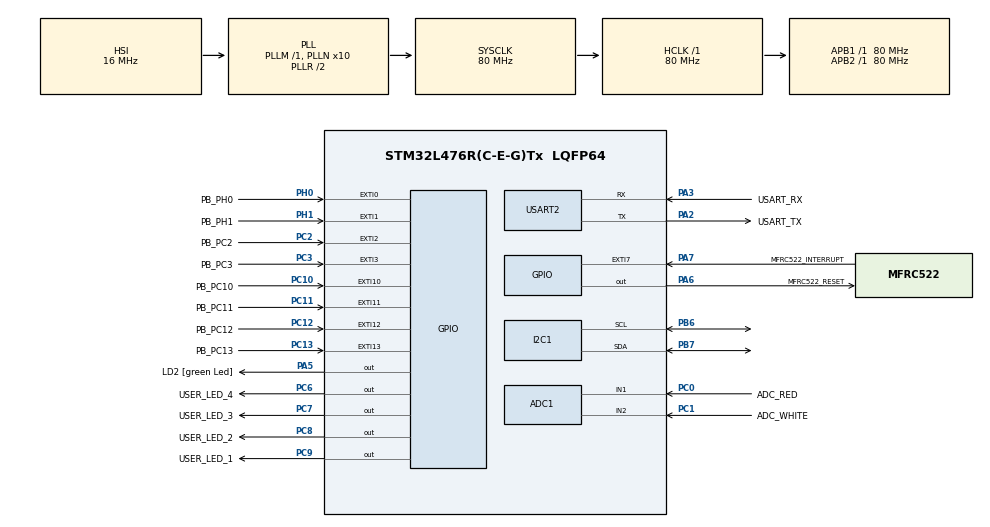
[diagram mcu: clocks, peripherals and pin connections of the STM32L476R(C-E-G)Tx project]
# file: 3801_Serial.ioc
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ADC1.Channel-1\#ChannelRegularConversion=ADC_CHANNEL_1
ADC1.Channel-2\#ChannelRegularConversion=ADC_CHANNEL_2
ADC1.ContinuousConvMode=ENABLE
ADC1.DMAContinuousRequests=DISABLE
ADC1.EOCSelection=ADC_EOC_SEQ_CONV
ADC1.NbrOfConversion=2
ADC1.NbrOfConversionFlag=1
ADC1.OffsetNumber-1\#ChannelRegularConversion=ADC_OFFSET_NONE
ADC1.OffsetNumber-2\#ChannelRegularConversion=ADC_OFFSET_NONE
ADC1.OversamplingMode=DISABLE
ADC1.Rank-1\#ChannelRegularConversion=1
ADC1.Rank-2\#ChannelRegularConversion=2
ADC1.SamplingTime-1\#ChannelRegularConversion=ADC_SAMPLETIME_6CYCLES_5
ADC1.SamplingTime-2\#ChannelRegularConversion=ADC_SAMPLETIME_6CYCLES_5
ADC1.master=1
Dma.ADC1.0.Direction=DMA_PERIPH_TO_MEMORY
Dma.ADC1.0.Instance=DMA1_Channel1
Dma.ADC1.0.MemDataAlignment=DMA_MDATAALIGN_WORD
Dma.ADC1.0.MemInc=DMA_MINC_ENABLE
Dma.ADC1.0.Mode=DMA_CIRCULAR
Dma.ADC1.0.PeriphDataAlignment=DMA_PDATAALIGN_WORD
Dma.ADC1.0.PeriphInc=DMA_PINC_DISABLE
Dma.ADC1.0.Priority=DMA_PRIORITY_VERY_HIGH
Dma.Request0=ADC1
FREERTOS.Tasks01=defaultTask,24,128,StartDefaultTask,Default,NULL,Dynamic,NULL,NULL
FREERTOS.configMINIMAL_STACK_SIZE=128
FREERTOS.configTOTAL_HEAP_SIZE=3000
FREERTOS.configUSE_NEWLIB_REENTRANT=1
I2C1.Timing=0x10909CEC
Mcu.Family=STM32L4
Mcu.Name=STM32L476R(C-E-G)Tx
Mcu.Package=LQFP64
NVIC.DMA1_Channel1_IRQn=true\:5\:0\:false\:false\:true\:false\:false\:true\:true
NVIC.EXTI0_IRQn=true\:6\:0\:true\:false\:true\:true\:true\:true\:true
NVIC.EXTI15_10_IRQn=true\:6\:0\:true\:false\:true\:true\:true\:true\:true
NVIC.EXTI1_IRQn=true\:6\:0\:true\:false\:true\:true\:true\:true\:true
NVIC.EXTI2_IRQn=true\:6\:0\:true\:false\:true\:true\:true\:true\:true
NVIC.EXTI3_IRQn=true\:6\:0\:true\:false\:true\:true\:true\:true\:true
NVIC.EXTI9_5_IRQn=true\:6\:0\:true\:false\:true\:true\:true\:true\:true
NVIC.PriorityGroup=NVIC_PRIORITYGROUP_4
NVIC.TIM1_UP_TIM16_IRQn=true\:15\:0\:false\:false\:true\:false\:false\:true\:true
NVIC.TimeBase=TIM1_UP_TIM16_IRQn
NVIC.TimeBaseIP=TIM1
PA13\ (JTMS-SWDIO).GPIO_Label=TMS
PA13\ (JTMS-SWDIO).Mode=Serial_Wire
PA13\ (JTMS-SWDIO).Signal=SYS_JTMS-SWDIO
PA14\ (JTCK-SWCLK).GPIO_Label=TCK
PA14\ (JTCK-SWCLK).Mode=Serial_Wire
PA14\ (JTCK-SWCLK).Signal=SYS_JTCK-SWCLK
PA2.GPIO_Label=USART_TX
PA2.GPIO_Mode=GPIO_MODE_AF_PP
PA2.GPIO_PuPd=GPIO_NOPULL
PA2.GPIO_Speed=GPIO_SPEED_FREQ_VERY_HIGH
PA2.Mode=Asynchronous
PA2.Signal=USART2_TX
PA3.GPIO_Label=USART_RX
PA3.GPIO_Mode=GPIO_MODE_AF_PP
PA3.GPIO_PuPd=GPIO_NOPULL
PA3.GPIO_Speed=GPIO_SPEED_FREQ_VERY_HIGH
PA3.Mode=Asynchronous
PA3.Signal=USART2_RX
PA5.GPIO_Label=LD2 [green Led]
PA5.GPIO_ModeDefaultOutputPP=GPIO_MODE_OUTPUT_PP
PA5.GPIO_PuPd=GPIO_NOPULL
PA5.GPIO_Speed=GPIO_SPEED_FREQ_LOW
PA5.Signal=GPIO_Output
PA6.GPIO_Label=MFRC522_RESET
PA6.PinState=GPIO_PIN_SET
PA6.Signal=GPIO_Output
PA7.GPIO_Label=MFRC522_INTERRUPT
PA7.Signal=GPXTI7
PB3\ (JTDO-TRACESWO).GPIO_Label=SWO
PB3\ (JTDO-TRACESWO).Signal=SYS_JTDO-SWO
PB6.Mode=I2C
PB6.Signal=I2C1_SCL
PB7.Mode=I2C
PB7.Signal=I2C1_SDA
PC0.GPIO_Label=ADC_RED
PC0.Signal=ADCx_IN1
PC1.GPIO_Label=ADC_WHITE
PC1.Signal=ADCx_IN2
PC10.GPIO_Label=PB_PC10
PC10.GPIO_ModeDefaultEXTI=GPIO_MODE_IT_FALLING
PC10.GPIO_PuPd=GPIO_PULLUP
PC10.Signal=GPXTI10
PC11.GPIO_Label=PB_PC11
PC11.GPIO_ModeDefaultEXTI=GPIO_MODE_IT_FALLING
PC11.GPIO_PuPd=GPIO_PULLUP
PC11.Signal=GPXTI11
PC12.GPIO_Label=PB_PC12
PC12.GPIO_ModeDefaultEXTI=GPIO_MODE_IT_FALLING
PC12.GPIO_PuPd=GPIO_PULLUP
PC12.Signal=GPXTI12
PC13.GPIO_Label=PB_PC13
PC13.GPIO_ModeDefaultEXTI=GPIO_MODE_IT_FALLING
PC13.GPIO_PuPd=GPIO_PULLUP
PC13.Signal=GPXTI13
PC2.GPIO_Label=PB_PC2
PC2.GPIO_ModeDefaultEXTI=GPIO_MODE_IT_FALLING
PC2.GPIO_PuPd=GPIO_PULLUP
PC2.Signal=GPXTI2
PC3.GPIO_Label=PB_PC3
PC3.GPIO_ModeDefaultEXTI=GPIO_MODE_IT_FALLING
PC3.GPIO_PuPd=GPIO_PULLUP
PC3.Signal=GPXTI3
PC6.GPIO_Label=USER_LED_4
PC6.GPIO_PuPd=GPIO_PULLDOWN
PC6.GPIO_Speed=GPIO_SPEED_FREQ_MEDIUM
PC6.Signal=GPIO_Output
PC7.GPIO_Label=USER_LED_3
PC7.GPIO_PuPd=GPIO_PULLDOWN
PC7.GPIO_Speed=GPIO_SPEED_FREQ_MEDIUM
PC7.Signal=GPIO_Output
PC8.GPIO_Label=USER_LED_2
PC8.GPIO_PuPd=GPIO_PULLDOWN
PC8.GPIO_Speed=GPIO_SPEED_FREQ_MEDIUM
PC8.Signal=GPIO_Output
PC9.GPIO_Label=USER_LED_1
PC9.GPIO_PuPd=GPIO_PULLDOWN
PC9.GPIO_Speed=GPIO_SPEED_FREQ_MEDIUM
PC9.Signal=GPIO_Output
PH0-OSC_IN\ (PH0).GPIO_Label=PB_PH0
PH0-OSC_IN\ (PH0).GPIO_ModeDefaultEXTI=GPIO_MODE_IT_FALLING
PH0-OSC_IN\ (PH0).GPIO_PuPd=GPIO_PULLUP
PH0-OSC_IN\ (PH0).Signal=GPXTI0
PH1-OSC_OUT\ (PH1).GPIO_Label=PB_PH1
PH1-OSC_OUT\ (PH1).GPIO_ModeDefaultEXTI=GPIO_MODE_IT_FALLING
PH1-OSC_OUT\ (PH1).GPIO_PuPd=GPIO_PULLUP
PH1-OSC_OUT\ (PH1).Signal=GPXTI1
ProjectManager.HeapSize=0x200
ProjectManager.StackSize=0x400
ProjectManager.TargetToolchain=STM32CubeIDE
RCC.ADCCLockSelection=RCC_ADCCLKSOURCE_SYSCLK
RCC.ADCFreq_Value=80000000
RCC.AHBFreq_Value=80000000
RCC.APB1Freq_Value=80000000
RCC.APB1TimFreq_Value=80000000
RCC.APB2Freq_Value=80000000
RCC.APB2TimFreq_Value=80000000
RCC.CortexFreq_Value=80000000
RCC.HCLKFreq_Value=80000000
RCC.HSE_VALUE=8000000
RCC.HSI_VALUE=16000000
RCC.LSE_VALUE=32768
RCC.MSI_VALUE=4000000
RCC.PLLN=10
RCC.PLLSourceVirtual=RCC_PLLSOURCE_HSI
RCC.PREFETCH_ENABLE=1
RCC.SYSCLKFreq_VALUE=80000000
RCC.SYSCLKSource=RCC_SYSCLKSOURCE_PLLCLK
RCC.USBFreq_Value=64000000
RCC.VCOOutputFreq_Value=160000000
SH.ADCx_IN1.0=ADC1_IN1,IN1-Single-Ended
SH.ADCx_IN2.0=ADC1_IN2,IN2-Single-Ended
USART2.VirtualMode-Asynchronous=VM_ASYNC
VP_FREERTOS_VS_CMSIS_V2.Mode=CMSIS_V2
VP_SYS_VS_tim1.Mode=TIM1
board=NUCLEO-L476RG

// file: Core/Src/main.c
/* USER CODE BEGIN Header */
/**
  ******************************************************************************
  * @file           : main.c
  * @brief          : Main program body
  ******************************************************************************
  * @attention
  *
  * <h2><center>&copy; Copyright (c) 2023 STMicroelectronics.
  * All rights reserved.</center></h2>
  *
  * This software component is licensed by ST under BSD 3-Clause license,
  * the "License"; You may not use this file except in compliance with the
  * License. You may obtain a copy of the License at:
  *                        opensource.org/licenses/BSD-3-Clause
  *
  ******************************************************************************
  */
/* USER CODE END Header */
#include "main.h"
#include "cmsis_os.h"

/* USER CODE BEGIN Includes */
#include "gpio_manager.h"
#include "event_manager.h"
#include "serial_manager.h"
#include "mfrc522.h"
#include <string.h>
/* USER CODE END Includes */

ADC_HandleTypeDef hadc1;
DMA_HandleTypeDef hdma_adc1;

I2C_HandleTypeDef hi2c1;

UART_HandleTypeDef huart2;

/* Definitions for defaultTask */
osThreadId_t defaultTaskHandle;
const osThreadAttr_t defaultTask_attributes = {
  .name = "defaultTask",
  .stack_size = 128 * 4,
  .priority = (osPriority_t) osPriorityNormal,
};
/* USER CODE BEGIN PV */
osThreadId_t eventManagerHandle;
const osThreadAttr_t eventManager_attributes = {
  .name = "eventManager",
  .priority = (osPriority_t) osPriorityNormal,
  .stack_size = 128 * 4
};

osThreadId_t serialManagerHandle;
const osThreadAttr_t serialManager_attributes = {
  .name = "serialManager",
  .priority = (osPriority_t) osPriorityNormal,
  .stack_size = 128 * 4
};

osThreadId_t gpioManagerHandle;
const osThreadAttr_t gpioManager_attributes = {
  .name = "gpioManager",
  .priority = (osPriority_t) osPriorityNormal,
  .stack_size = 128 * 4
};

osThreadId_t NFCManagerHandle;
const osThreadAttr_t NFCManager_attributes = {
  .name = "NFCManager",
  .priority = (osPriority_t) osPriorityNormal,
  .stack_size = 128 * 4
};
/* USER CODE END PV */

void SystemClock_Config(void);
static void MX_GPIO_Init(void);
static void MX_DMA_Init(void);
static void MX_USART2_UART_Init(void);
static void MX_I2C1_Init(void);
static void MX_ADC1_Init(void);
void StartDefaultTask(void *argument);

/* USER CODE BEGIN PFP */
void badCustomInit(void);
/* USER CODE END PFP */

int main(void)
{
  /* USER CODE BEGIN 1 */
  int ret = 0;
  //uint8_t buf[64]; // lachie code kept for merge
  /* USER CODE END 1 */

  /* MCU Configuration--------------------------------------------------------*/

  /* Reset of all peripherals, Initializes the Flash interface and the Systick. */
  HAL_Init();

  /* Configure the system clock */
  SystemClock_Config();

  /* Initialize all configured peripherals */
  MX_GPIO_Init();
  MX_DMA_Init();
  MX_USART2_UART_Init();
  MX_I2C1_Init();
  MX_ADC1_Init();
  /* USER CODE BEGIN 2 */
  MFRC522_Init();

  // Lachie code kept for merge sake
  //TM_MFRC522_version_dump();
  //TM_MFRC522_SelfTest(buf);

  ret |= eventManagerInit();
  ret |= serialManagerInit();
  ret |= gpioManagerInit();
//
//  if (ret)
//	  badCustomInit();
  /* USER CODE END 2 */

  /* Init scheduler */
  osKernelInitialize();

  /* Create the thread(s) */
  /* creation of defaultTask */
  //defaultTaskHandle = osThreadNew(StartDefaultTask, NULL, &defaultTask_attributes);

  /* USER CODE BEGIN RTOS_THREADS */
//  /* add threads, ... */
  eventManagerHandle = osThreadNew(eventManagerTask, NULL, &eventManager_attributes);
  serialManagerHandle = osThreadNew(serialManagerTask, NULL, &serialManager_attributes);
  gpioManagerHandle = osThreadNew(gpioManagerTask, NULL, &gpioManager_attributes);
  NFCManagerHandle = osThreadNew(NFCTask, NULL, &NFCManager_attributes);
  /* USER CODE END RTOS_THREADS */

  /* Start scheduler */
  osKernelStart();

  /* We should never get here as control is now taken by the scheduler */
  /* Infinite loop */
  while (1)
  {

  }
}

void SystemClock_Config(void)
{
  RCC_OscInitTypeDef RCC_OscInitStruct = {0};
  RCC_ClkInitTypeDef RCC_ClkInitStruct = {0};

  /** Configure the main internal regulator output voltage
  */
  if (HAL_PWREx_ControlVoltageScaling(PWR_REGULATOR_VOLTAGE_SCALE1) != HAL_OK)
  {
    Error_Handler();
  }

  /** Initializes the RCC Oscillators according to the specified parameters
  * in the RCC_OscInitTypeDef structure.
  */
  RCC_OscInitStruct.OscillatorType = RCC_OSCILLATORTYPE_HSI;
  RCC_OscInitStruct.HSIState = RCC_HSI_ON;
  RCC_OscInitStruct.HSICalibrationValue = RCC_HSICALIBRATION_DEFAULT;
  RCC_OscInitStruct.PLL.PLLState = RCC_PLL_ON;
  RCC_OscInitStruct.PLL.PLLSource = RCC_PLLSOURCE_HSI;
  RCC_OscInitStruct.PLL.PLLM = 1;
  RCC_OscInitStruct.PLL.PLLN = 10;
  RCC_OscInitStruct.PLL.PLLP = RCC_PLLP_DIV7;
  RCC_OscInitStruct.PLL.PLLQ = RCC_PLLQ_DIV2;
  RCC_OscInitStruct.PLL.PLLR = RCC_PLLR_DIV2;
  if (HAL_RCC_OscConfig(&RCC_OscInitStruct) != HAL_OK)
  {
    Error_Handler();
  }

  /** Initializes the CPU, AHB and APB buses clocks
  */
  RCC_ClkInitStruct.ClockType = RCC_CLOCKTYPE_HCLK|RCC_CLOCKTYPE_SYSCLK
                              |RCC_CLOCKTYPE_PCLK1|RCC_CLOCKTYPE_PCLK2;
  RCC_ClkInitStruct.SYSCLKSource = RCC_SYSCLKSOURCE_PLLCLK;
  RCC_ClkInitStruct.AHBCLKDivider = RCC_SYSCLK_DIV1;
  RCC_ClkInitStruct.APB1CLKDivider = RCC_HCLK_DIV1;
  RCC_ClkInitStruct.APB2CLKDivider = RCC_HCLK_DIV1;

  if (HAL_RCC_ClockConfig(&RCC_ClkInitStruct, FLASH_LATENCY_4) != HAL_OK)
  {
    Error_Handler();
  }
}

static void MX_ADC1_Init(void)
{

  ADC_MultiModeTypeDef multimode = {0};
  ADC_ChannelConfTypeDef sConfig = {0};

  /** Common config
  */
  hadc1.Instance = ADC1;
  hadc1.Init.ClockPrescaler = ADC_CLOCK_ASYNC_DIV1;
  hadc1.Init.Resolution = ADC_RESOLUTION_12B;
  hadc1.Init.DataAlign = ADC_DATAALIGN_RIGHT;
  hadc1.Init.ScanConvMode = ADC_SCAN_ENABLE;
  hadc1.Init.EOCSelection = ADC_EOC_SEQ_CONV;
  hadc1.Init.LowPowerAutoWait = DISABLE;
  hadc1.Init.ContinuousConvMode = ENABLE;
  hadc1.Init.NbrOfConversion = 2;
  hadc1.Init.DiscontinuousConvMode = DISABLE;
  hadc1.Init.ExternalTrigConv = ADC_SOFTWARE_START;
  hadc1.Init.ExternalTrigConvEdge = ADC_EXTERNALTRIGCONVEDGE_NONE;
  hadc1.Init.DMAContinuousRequests = DISABLE;
  hadc1.Init.Overrun = ADC_OVR_DATA_PRESERVED;
  hadc1.Init.OversamplingMode = DISABLE;
  if (HAL_ADC_Init(&hadc1) != HAL_OK)
  {
    Error_Handler();
  }

  /** Configure the ADC multi-mode
  */
  multimode.Mode = ADC_MODE_INDEPENDENT;
  if (HAL_ADCEx_MultiModeConfigChannel(&hadc1, &multimode) != HAL_OK)
  {
    Error_Handler();
  }

  /** Configure Regular Channel
  */
  sConfig.Channel = ADC_CHANNEL_1;
  sConfig.Rank = ADC_REGULAR_RANK_1;
  sConfig.SamplingTime = ADC_SAMPLETIME_6CYCLES_5;
  sConfig.SingleDiff = ADC_SINGLE_ENDED;
  sConfig.OffsetNumber = ADC_OFFSET_NONE;
  sConfig.Offset = 0;
  if (HAL_ADC_ConfigChannel(&hadc1, &sConfig) != HAL_OK)
  {
    Error_Handler();
  }

  /** Configure Regular Channel
  */
  sConfig.Channel = ADC_CHANNEL_2;
  sConfig.Rank = ADC_REGULAR_RANK_2;
  if (HAL_ADC_ConfigChannel(&hadc1, &sConfig) != HAL_OK)
  {
    Error_Handler();
  }

}

static void MX_I2C1_Init(void)
{

  hi2c1.Instance = I2C1;
  hi2c1.Init.Timing = 0x10909CEC;
  hi2c1.Init.OwnAddress1 = 0;
  hi2c1.Init.AddressingMode = I2C_ADDRESSINGMODE_7BIT;
  hi2c1.Init.DualAddressMode = I2C_DUALADDRESS_DISABLE;
  hi2c1.Init.OwnAddress2 = 0;
  hi2c1.Init.OwnAddress2Masks = I2C_OA2_NOMASK;
  hi2c1.Init.GeneralCallMode = I2C_GENERALCALL_DISABLE;
  hi2c1.Init.NoStretchMode = I2C_NOSTRETCH_DISABLE;
  if (HAL_I2C_Init(&hi2c1) != HAL_OK)
  {
    Error_Handler();
  }

  /** Configure Analogue filter
  */
  if (HAL_I2CEx_ConfigAnalogFilter(&hi2c1, I2C_ANALOGFILTER_ENABLE) != HAL_OK)
  {
    Error_Handler();
  }

  /** Configure Digital filter
  */
  if (HAL_I2CEx_ConfigDigitalFilter(&hi2c1, 0) != HAL_OK)
  {
    Error_Handler();
  }

}

static void MX_USART2_UART_Init(void)
{

  huart2.Instance = USART2;
  huart2.Init.BaudRate = 115200;
  huart2.Init.WordLength = UART_WORDLENGTH_8B;
  huart2.Init.StopBits = UART_STOPBITS_1;
  huart2.Init.Parity = UART_PARITY_NONE;
  huart2.Init.Mode = UART_MODE_TX_RX;
  huart2.Init.HwFlowCtl = UART_HWCONTROL_NONE;
  huart2.Init.OverSampling = UART_OVERSAMPLING_16;
  huart2.Init.OneBitSampling = UART_ONE_BIT_SAMPLE_DISABLE;
  huart2.AdvancedInit.AdvFeatureInit = UART_ADVFEATURE_NO_INIT;
  if (HAL_UART_Init(&huart2) != HAL_OK)
  {
    Error_Handler();
  }

}

static void MX_DMA_Init(void)
{

  /* DMA controller clock enable */
  __HAL_RCC_DMA1_CLK_ENABLE();

  /* DMA interrupt init */
  /* DMA1_Channel1_IRQn interrupt configuration */
  HAL_NVIC_SetPriority(DMA1_Channel1_IRQn, 5, 0);
  HAL_NVIC_EnableIRQ(DMA1_Channel1_IRQn);

}

static void MX_GPIO_Init(void)
{
  GPIO_InitTypeDef GPIO_InitStruct = {0};

  /* GPIO Ports Clock Enable */
  __HAL_RCC_GPIOC_CLK_ENABLE();
  __HAL_RCC_GPIOH_CLK_ENABLE();
  __HAL_RCC_GPIOA_CLK_ENABLE();
  __HAL_RCC_GPIOB_CLK_ENABLE();

  /*Configure GPIO pin Output Level */
  HAL_GPIO_WritePin(LD2_GPIO_Port, LD2_Pin, GPIO_PIN_RESET);

  /*Configure GPIO pin Output Level */
  HAL_GPIO_WritePin(MFRC522_RESET_GPIO_Port, MFRC522_RESET_Pin, GPIO_PIN_SET);

  /*Configure GPIO pin Output Level */
  HAL_GPIO_WritePin(GPIOC, USER_LED_4_Pin|USER_LED_3_Pin|USER_LED_2_Pin|USER_LED_1_Pin, GPIO_PIN_RESET);

  /*Configure GPIO pins : PB_PC13_Pin PB_PC2_Pin PB_PC3_Pin PB_PC10_Pin
                           PB_PC11_Pin PB_PC12_Pin */
  GPIO_InitStruct.Pin = PB_PC13_Pin|PB_PC2_Pin|PB_PC3_Pin|PB_PC10_Pin
                          |PB_PC11_Pin|PB_PC12_Pin;
  GPIO_InitStruct.Mode = GPIO_MODE_IT_FALLING;
  GPIO_InitStruct.Pull = GPIO_PULLUP;
  HAL_GPIO_Init(GPIOC, &GPIO_InitStruct);

  /*Configure GPIO pins : PB_PH0_Pin PB_PH1_Pin */
  GPIO_InitStruct.Pin = PB_PH0_Pin|PB_PH1_Pin;
  GPIO_InitStruct.Mode = GPIO_MODE_IT_FALLING;
  GPIO_InitStruct.Pull = GPIO_PULLUP;
  HAL_GPIO_Init(GPIOH, &GPIO_InitStruct);

  /*Configure GPIO pins : LD2_Pin MFRC522_RESET_Pin */
  GPIO_InitStruct.Pin = LD2_Pin|MFRC522_RESET_Pin;
  GPIO_InitStruct.Mode = GPIO_MODE_OUTPUT_PP;
  GPIO_InitStruct.Pull = GPIO_NOPULL;
  GPIO_InitStruct.Speed = GPIO_SPEED_FREQ_LOW;
  HAL_GPIO_Init(GPIOA, &GPIO_InitStruct);

  /*Configure GPIO pin : MFRC522_INTERRUPT_Pin */
  GPIO_InitStruct.Pin = MFRC522_INTERRUPT_Pin;
  GPIO_InitStruct.Mode = GPIO_MODE_IT_RISING;
  GPIO_InitStruct.Pull = GPIO_NOPULL;
  HAL_GPIO_Init(MFRC522_INTERRUPT_GPIO_Port, &GPIO_InitStruct);

  /*Configure GPIO pins : USER_LED_4_Pin USER_LED_3_Pin USER_LED_2_Pin USER_LED_1_Pin */
  GPIO_InitStruct.Pin = USER_LED_4_Pin|USER_LED_3_Pin|USER_LED_2_Pin|USER_LED_1_Pin;
  GPIO_InitStruct.Mode = GPIO_MODE_OUTPUT_PP;
  GPIO_InitStruct.Pull = GPIO_PULLDOWN;
  GPIO_InitStruct.Speed = GPIO_SPEED_FREQ_MEDIUM;
  HAL_GPIO_Init(GPIOC, &GPIO_InitStruct);

  /* EXTI interrupt init*/
  HAL_NVIC_SetPriority(EXTI0_IRQn, 6, 0);
  HAL_NVIC_EnableIRQ(EXTI0_IRQn);

  HAL_NVIC_SetPriority(EXTI1_IRQn, 6, 0);
  HAL_NVIC_EnableIRQ(EXTI1_IRQn);

  HAL_NVIC_SetPriority(EXTI2_IRQn, 6, 0);
  HAL_NVIC_EnableIRQ(EXTI2_IRQn);

  HAL_NVIC_SetPriority(EXTI3_IRQn, 6, 0);
  HAL_NVIC_EnableIRQ(EXTI3_IRQn);

  HAL_NVIC_SetPriority(EXTI9_5_IRQn, 6, 0);
  HAL_NVIC_EnableIRQ(EXTI9_5_IRQn);

  HAL_NVIC_SetPriority(EXTI15_10_IRQn, 6, 0);
  HAL_NVIC_EnableIRQ(EXTI15_10_IRQn);

}

/* USER CODE BEGIN 4 */
void badCustomInit(void) {

	for (;;) {
		HAL_GPIO_TogglePin(LD2_GPIO_Port, LD2_Pin);
		HAL_Delay(100);
	}
}
/* USER CODE END 4 */

void StartDefaultTask(void *argument)
{
  /* USER CODE BEGIN 5 */
  /* Infinite loop */
  for(;;)
  {
//	HAL_GPIO_TogglePin(USER_LED_1_GPIO_Port, USER_LED_1_Pin);
//	HAL_GPIO_TogglePin(USER_LED_2_GPIO_Port, USER_LED_2_Pin);
//	HAL_GPIO_TogglePin(USER_LED_3_GPIO_Port, USER_LED_3_Pin);
//	HAL_GPIO_TogglePin(USER_LED_4_GPIO_Port, USER_LED_4_Pin);
    osDelay(5000);
  }
  /* USER CODE END 5 */
}

void HAL_TIM_PeriodElapsedCallback(TIM_HandleTypeDef *htim)
{
  if (htim->Instance == TIM1) {
    HAL_IncTick();
  }
}

void Error_Handler(void)
{
}
